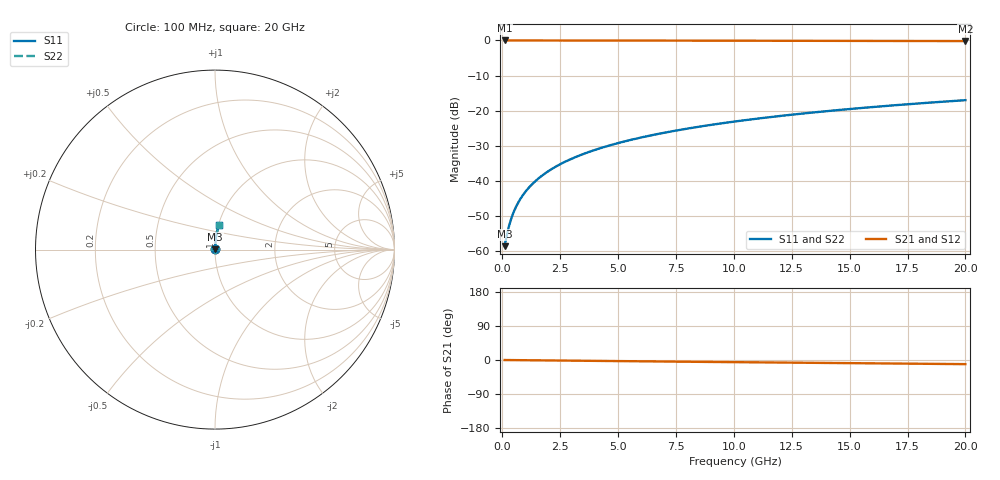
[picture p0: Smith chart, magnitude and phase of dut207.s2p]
! Touchstone file exported from HFSS 2024.1.0
!  File:  C:/UserFiles/LocalFiles/RDL_TSV_Batchsim/temp_RDL_bottom_207_1778699830.aedt
!  Generated:  03:19:49 AM May 14, 2026
!  Design:  RDL_bottom
!  Project:  temp_RDL_bottom_207_1778699830
!  Setup:  Setup1
!  Solution:  Sweep
! Variables:
!  dtsv = 10.80580581um
!  hbump = 3um
!  htsv = 96.49um
!  ldown = 116.85um
!  lrdl = 100um
!  p = 40
!  p1 = 42.33um
!  rhole = 1um
!  t = 450um
!  tdown = 4.03um
!  trdl = 3.915915916um
!  wdown = 13.34um
!  wrdl = 20um
# GHz S MA R 50.000000
! Terminal data exported
! Port[1] = RDL1_T1
! Port[2] = RDL1_T2
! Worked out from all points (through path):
!   200 points, 100 MHz to 20 GHz, reference 50 ohm
!   highest |S21| = -0.01 dB at 100 MHz (marker M1); lowest = -0.2 dB at 20 GHz (marker M2)
!   group delay of S21, straight-line fit = 1.51 ps
!   lowest |S11| = -58.6 dB at 100 MHz (marker M3), VSWR 1.00, Z = 50.1 + j0.0718 ohm
!   |S11| at or under -10 dB: start of sweep to end of sweep
!   |S22| runs from -58.6 to -17.0 dB; largest |S21 - S12| = 3.3e-15
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0.1  0.001169 37.8  0.9991 -0.1  0.9991 -0.1  0.001169 37.8
! Gamma 0 0 0 0
! Port Impedance 50 0 50 0
0.2  0.001709 56.5  0.9991 -0.1  0.9991 -0.1  0.001709 56.5
0.3  0.002332 65.5  0.999 -0.2  0.999 -0.2  0.002332 65.5
0.4  0.002981 70.6  0.999 -0.2  0.999 -0.2  0.002981 70.6
0.5  0.003639 73.9  0.999 -0.3  0.999 -0.3  0.003639 73.9
0.6  0.004301 76.2  0.9989 -0.4  0.9989 -0.4  0.004301 76.2
0.8  0.005637 79.2  0.9989 -0.5  0.9989 -0.5  0.005637 79.2
1.1  0.007656 81.8  0.9988 -0.7  0.9988 -0.7  0.007656 81.8
1.5  0.01037 83.7  0.9987 -0.9  0.9987 -0.9  0.01037 83.7
1.8  0.01241 84.6  0.9986 -1.1  0.9986 -1.1  0.01241 84.6
2.1  0.01446 85.2  0.9984 -1.2  0.9984 -1.2  0.01446 85.2
2.7  0.01857 85.9  0.9981 -1.6  0.9981 -1.6  0.01857 85.9
3.5  0.02406 86.4  0.9976 -2.1  0.9976 -2.1  0.02406 86.4
4.2  0.02889 86.6  0.9971 -2.5  0.9971 -2.5  0.02889 86.6
5  0.03443 86.6  0.9964 -2.9  0.9964 -2.9  0.03443 86.6
5.9  0.04069 86.6  0.9956 -3.4  0.9956 -3.4  0.04069 86.6
6.8  0.04699 86.5  0.9947 -3.9  0.9947 -3.9  0.04699 86.5
8.3  0.05755 86.1  0.9931 -4.8  0.9931 -4.8  0.05755 86.1
10.1  0.07031 85.5  0.9911 -5.7  0.9911 -5.7  0.07031 85.5
13.4  0.09386 84.0  0.9872 -7.5  0.9872 -7.5  0.09386 84.0
16.7  0.1174 82.4  0.9831 -9.2  0.9831 -9.2  0.1174 82.4
20  0.1408 80.6  0.9789 -10.9  0.9789 -10.9  0.1408 80.6
